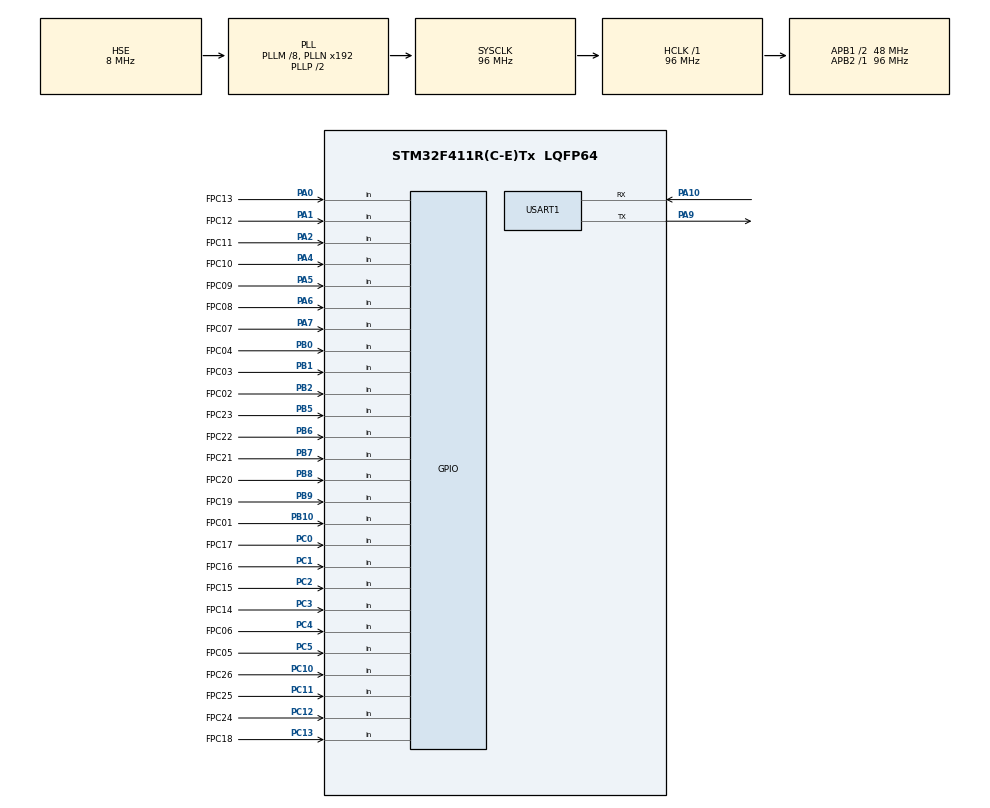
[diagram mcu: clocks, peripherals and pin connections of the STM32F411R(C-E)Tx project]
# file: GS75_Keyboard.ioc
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Mcu.Family=STM32F4
Mcu.Name=STM32F411R(C-E)Tx
Mcu.Package=LQFP64
NVIC.PriorityGroup=NVIC_PRIORITYGROUP_4
PA0-WKUP.GPIO_Label=FPC13
PA0-WKUP.GPIO_Mode=GPIO_MODE_INPUT
PA0-WKUP.GPIO_PuPd=GPIO_PULLUP
PA0-WKUP.Signal=GPIO_Input
PA1.GPIO_Label=FPC12
PA1.GPIO_Mode=GPIO_MODE_INPUT
PA1.GPIO_PuPd=GPIO_PULLUP
PA1.Signal=GPIO_Input
PA10.Mode=Asynchronous
PA10.Signal=USART1_RX
PA13.Mode=Serial_Wire
PA13.Signal=SYS_JTMS-SWDIO
PA14.Mode=Serial_Wire
PA14.Signal=SYS_JTCK-SWCLK
PA2.GPIO_Label=FPC11
PA2.GPIO_Mode=GPIO_MODE_INPUT
PA2.GPIO_PuPd=GPIO_PULLUP
PA2.Signal=GPIO_Input
PA4.GPIO_Label=FPC10
PA4.GPIO_Mode=GPIO_MODE_INPUT
PA4.GPIO_PuPd=GPIO_PULLUP
PA4.Signal=GPIO_Input
PA5.GPIO_Label=FPC09
PA5.GPIO_Mode=GPIO_MODE_INPUT
PA5.GPIO_PuPd=GPIO_PULLUP
PA5.Signal=GPIO_Input
PA6.GPIO_Label=FPC08
PA6.GPIO_Mode=GPIO_MODE_INPUT
PA6.GPIO_PuPd=GPIO_PULLUP
PA6.Signal=GPIO_Input
PA7.GPIO_Label=FPC07
PA7.GPIO_Mode=GPIO_MODE_INPUT
PA7.GPIO_PuPd=GPIO_PULLUP
PA7.Signal=GPIO_Input
PA9.Mode=Asynchronous
PA9.Signal=USART1_TX
PB0.GPIO_Label=FPC04
PB0.GPIO_Mode=GPIO_MODE_INPUT
PB0.GPIO_PuPd=GPIO_PULLUP
PB0.Signal=GPIO_Input
PB1.GPIO_Label=FPC03
PB1.GPIO_Mode=GPIO_MODE_INPUT
PB1.GPIO_PuPd=GPIO_PULLUP
PB1.Signal=GPIO_Input
PB10.GPIO_Label=FPC01
PB10.GPIO_Mode=GPIO_MODE_INPUT
PB10.GPIO_PuPd=GPIO_PULLUP
PB10.Signal=GPIO_Input
PB2.GPIO_Label=FPC02
PB2.GPIO_Mode=GPIO_MODE_INPUT
PB2.GPIO_PuPd=GPIO_PULLUP
PB2.Signal=GPIO_Input
PB5.GPIO_Label=FPC23
PB5.GPIO_Mode=GPIO_MODE_INPUT
PB5.GPIO_PuPd=GPIO_PULLUP
PB5.Signal=GPIO_Input
PB6.GPIO_Label=FPC22
PB6.GPIO_Mode=GPIO_MODE_INPUT
PB6.GPIO_PuPd=GPIO_PULLUP
PB6.Signal=GPIO_Input
PB7.GPIO_Label=FPC21
PB7.GPIO_Mode=GPIO_MODE_INPUT
PB7.GPIO_PuPd=GPIO_PULLUP
PB7.Signal=GPIO_Input
PB8.GPIO_Label=FPC20
PB8.GPIO_Mode=GPIO_MODE_INPUT
PB8.GPIO_PuPd=GPIO_PULLUP
PB8.Signal=GPIO_Input
PB9.GPIO_Label=FPC19
PB9.GPIO_Mode=GPIO_MODE_INPUT
PB9.GPIO_PuPd=GPIO_PULLUP
PB9.Signal=GPIO_Input
PC0.GPIO_Label=FPC17
PC0.GPIO_Mode=GPIO_MODE_INPUT
PC0.GPIO_PuPd=GPIO_PULLUP
PC0.Signal=GPIO_Input
PC1.GPIO_Label=FPC16
PC1.GPIO_Mode=GPIO_MODE_INPUT
PC1.GPIO_PuPd=GPIO_PULLUP
PC1.Signal=GPIO_Input
PC10.GPIO_Label=FPC26
PC10.GPIO_Mode=GPIO_MODE_INPUT
PC10.GPIO_PuPd=GPIO_PULLUP
PC10.Signal=GPIO_Input
PC11.GPIO_Label=FPC25
PC11.GPIO_Mode=GPIO_MODE_INPUT
PC11.GPIO_PuPd=GPIO_PULLUP
PC11.Signal=GPIO_Input
PC12.GPIO_Label=FPC24
PC12.GPIO_Mode=GPIO_MODE_INPUT
PC12.GPIO_PuPd=GPIO_PULLUP
PC12.Signal=GPIO_Input
PC13-ANTI_TAMP.GPIO_Label=FPC18
PC13-ANTI_TAMP.GPIO_Mode=GPIO_MODE_INPUT
PC13-ANTI_TAMP.GPIO_PuPd=GPIO_PULLUP
PC13-ANTI_TAMP.Signal=GPIO_Input
PC2.GPIO_Label=FPC15
PC2.GPIO_Mode=GPIO_MODE_INPUT
PC2.GPIO_PuPd=GPIO_PULLUP
PC2.Signal=GPIO_Input
PC3.GPIO_Label=FPC14
PC3.GPIO_Mode=GPIO_MODE_INPUT
PC3.GPIO_PuPd=GPIO_PULLUP
PC3.Signal=GPIO_Input
PC4.GPIO_Label=FPC06
PC4.GPIO_Mode=GPIO_MODE_INPUT
PC4.GPIO_PuPd=GPIO_PULLUP
PC4.Signal=GPIO_Input
PC5.GPIO_Label=FPC05
PC5.GPIO_Mode=GPIO_MODE_INPUT
PC5.GPIO_PuPd=GPIO_PULLUP
PC5.Signal=GPIO_Input
PH0\ -\ OSC_IN.Mode=HSE-External-Oscillator
PH0\ -\ OSC_IN.Signal=RCC_OSC_IN
PH1\ -\ OSC_OUT.Mode=HSE-External-Oscillator
PH1\ -\ OSC_OUT.Signal=RCC_OSC_OUT
ProjectManager.HeapSize=0x200
ProjectManager.StackSize=0x400
ProjectManager.TargetToolchain=CMake
RCC.48MHZClocksFreq_Value=48000000
RCC.AHBFreq_Value=96000000
RCC.APB1CLKDivider=RCC_HCLK_DIV2
RCC.APB1Freq_Value=48000000
RCC.APB1TimFreq_Value=96000000
RCC.APB2Freq_Value=96000000
RCC.APB2TimFreq_Value=96000000
RCC.CortexFreq_Value=96000000
RCC.HCLKFreq_Value=96000000
RCC.HSE_VALUE=8000000
RCC.HSI_VALUE=16000000
RCC.LSE_VALUE=32768
RCC.PLLM=8
RCC.PLLSourceVirtual=RCC_PLLSOURCE_HSE
RCC.SYSCLKFreq_VALUE=96000000
RCC.SYSCLKSource=RCC_SYSCLKSOURCE_PLLCLK
RCC.VCOOutputFreq_Value=192000000
USART1.VirtualMode=VM_ASYNC
board=custom

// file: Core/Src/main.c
/* USER CODE BEGIN Header */
/**
  ******************************************************************************
  * @file           : main.c
  * @brief          : Main program body
  ******************************************************************************
  * @attention
  *
  * Copyright (c) 2026 STMicroelectronics.
  * All rights reserved.
  *
  * This software is licensed under terms that can be found in the LICENSE file
  * in the root directory of this software component.
  * If no LICENSE file comes with this software, it is provided AS-IS.
  *
  ******************************************************************************
  */
/* USER CODE END Header */
#include "main.h"
#include "usart.h"
#include "gpio.h"

/* USER CODE BEGIN Includes */
#include "matrix.h"
#include "matrix_debug.h"
#include "keyboard_runtime.h"
#include "usb_keyboard.h"
#include "usb_device.h"
#include "runtime_timing.h"
#include "power_manager.h"
#include "power_port.h"
/* USER CODE END Includes */

void SystemClock_Config(void);

int main(void)
{

  /* MCU Configuration--------------------------------------------------------*/

  /* Reset of all peripherals, Initializes the Flash interface and the Systick. */
  HAL_Init();

  /* Configure the system clock */
  SystemClock_Config();

  /* Initialize all configured peripherals */
  MX_GPIO_Init();
  MX_USART1_UART_Init();
  /* USER CODE BEGIN 2 */
  PowerManager_Init();
  UsbKeyboard_Init();
  Matrix_Init();
  KeyboardRuntime_Init();
  RuntimeTiming_Init();
  UsbDevice_Init();
  HAL_Delay(200);
  MatrixDebug_Init();
  /* USER CODE END 2 */

  /* Infinite loop */
  while (1)
  {
    /* USER CODE BEGIN 3 */
    UsbKeyboard_Task(HAL_GetTick());
    PowerManager_Task(HAL_GetTick());
    MatrixDebug_Process();
  }
  /* USER CODE END 3 */
}

void SystemClock_Config(void)
{
  RCC_OscInitTypeDef RCC_OscInitStruct = {0};
  RCC_ClkInitTypeDef RCC_ClkInitStruct = {0};

  /** Configure the main internal regulator output voltage
  */
  __HAL_RCC_PWR_CLK_ENABLE();
  __HAL_PWR_VOLTAGESCALING_CONFIG(PWR_REGULATOR_VOLTAGE_SCALE1);

  /** Initializes the RCC Oscillators according to the specified parameters
  * in the RCC_OscInitTypeDef structure.
  */
  RCC_OscInitStruct.OscillatorType = RCC_OSCILLATORTYPE_HSE;
  RCC_OscInitStruct.HSEState = RCC_HSE_ON;
  RCC_OscInitStruct.PLL.PLLState = RCC_PLL_ON;
  RCC_OscInitStruct.PLL.PLLSource = RCC_PLLSOURCE_HSE;
  RCC_OscInitStruct.PLL.PLLM = 8;
  RCC_OscInitStruct.PLL.PLLN = 192;
  RCC_OscInitStruct.PLL.PLLP = RCC_PLLP_DIV2;
  RCC_OscInitStruct.PLL.PLLQ = 4;
  if (HAL_RCC_OscConfig(&RCC_OscInitStruct) != HAL_OK)
  {
    Error_Handler();
  }

  /** Initializes the CPU, AHB and APB buses clocks
  */
  RCC_ClkInitStruct.ClockType = RCC_CLOCKTYPE_HCLK|RCC_CLOCKTYPE_SYSCLK
                              |RCC_CLOCKTYPE_PCLK1|RCC_CLOCKTYPE_PCLK2;
  RCC_ClkInitStruct.SYSCLKSource = RCC_SYSCLKSOURCE_PLLCLK;
  RCC_ClkInitStruct.AHBCLKDivider = RCC_SYSCLK_DIV1;
  RCC_ClkInitStruct.APB1CLKDivider = RCC_HCLK_DIV2;
  RCC_ClkInitStruct.APB2CLKDivider = RCC_HCLK_DIV1;

  if (HAL_RCC_ClockConfig(&RCC_ClkInitStruct, FLASH_LATENCY_3) != HAL_OK)
  {
    Error_Handler();
  }
}

void Error_Handler(void)
{
  /* USER CODE BEGIN Error_Handler_Debug */
  /* Best-effort LOW before the infinite error loop. */
  PowerPort_EmergencyOff();
  __disable_irq();
  while (1)
  {
  }
  /* USER CODE END Error_Handler_Debug */
}
